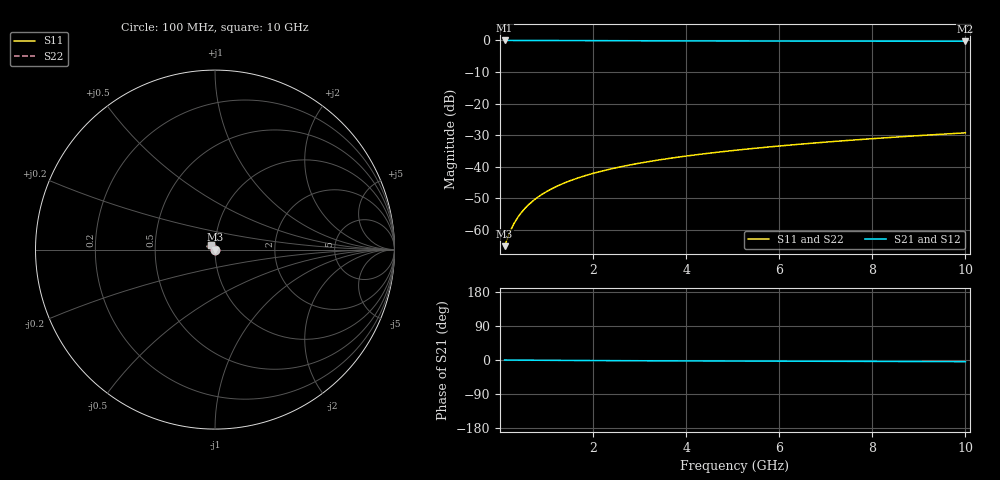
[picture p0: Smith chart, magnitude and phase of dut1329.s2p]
! Touchstone file exported from HFSS 2024.1.0
!  File:  C:/UserFiles/LocalFiles/RDL_TSV_Batchsim/temp_TSV1_1329_1780375084.aedt
!  Generated:  12:45:20 PM Jun  2, 2026
!  Design:  TSV1
!  Project:  temp_TSV1_1329_1780375084
!  Setup:  Setup1
!  Solution:  Sweep
! Variables:
!  dtsv = 5.49um
!  hbump = 3um
!  htsv = 58.86um
!  lrdl = 252.1521522um
!  p = 40
!  p1 = 56.11um
!  t = 500um
!  trdl = 3um
!  wrdl = 24.89489489um
# GHz S MA R 50.000000
! Terminal data exported
! Port[1] = TSV22_T1
! Port[2] = TSV22_T2
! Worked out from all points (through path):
!   100 points, 100 MHz to 10 GHz, reference 50 ohm
!   highest |S21| = 0.00 dB at 100 MHz (marker M1); lowest = -0.2 dB at 10 GHz (marker M2)
!   lowest |S11| = -65.2 dB at 100 MHz (marker M3), VSWR 1.00, Z = 50 - j0.0415 ohm
!   |S11| at or under -10 dB: start of sweep to end of sweep
!   |S22| runs from -65.2 to -29.3 dB; largest |S21 - S12| = 3.7e-15
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0.1  0.0005504 -48.9  0.9996 -0.1  0.9996 -0.1  0.0005504 -48.9
! Gamma 0 0 0 0
! Port Impedance 50 0 50 0
0.2  0.0008795 -70.4  0.9995 -0.2  0.9995 -0.2  0.0008795 -70.4
0.3  0.001253 -81.4  0.9994 -0.3  0.9994 -0.3  0.001253 -81.4
0.4  0.001643 -88.6  0.9993 -0.3  0.9993 -0.3  0.001643 -88.6
0.5  0.002039 -94.1  0.9991 -0.4  0.9991 -0.4  0.002039 -94.1
0.6  0.002437 -98.6  0.9988 -0.5  0.9988 -0.5  0.002437 -98.6
0.7  0.002836 -102.6  0.9986 -0.6  0.9986 -0.6  0.002836 -102.6
0.8  0.003234 -106.2  0.9983 -0.7  0.9983 -0.7  0.003234 -106.2
0.9  0.00363 -109.7  0.9979 -0.7  0.9979 -0.7  0.00363 -109.7
1  0.004025 -112.9  0.9976 -0.8  0.9976 -0.8  0.004025 -112.9
1.2  0.004807 -119.0  0.9968 -1.0  0.9968 -1.0  0.004807 -119.0
1.5  0.00596 -127.5  0.9955 -1.2  0.9955 -1.2  0.00596 -127.5
1.8  0.007088 -135.3  0.994 -1.3  0.994 -1.3  0.007088 -135.3
2.1  0.008191 -142.6  0.9926 -1.5  0.9926 -1.5  0.008191 -142.6
2.5  0.009624 -151.5  0.9905 -1.7  0.9905 -1.7  0.009624 -151.5
2.9  0.01102 -159.7  0.9886 -1.9  0.9886 -1.9  0.01102 -159.7
3.4  0.01273 -168.8  0.9863 -2.2  0.9863 -2.2  0.01273 -168.8
4.2  0.01539 178.7  0.9831 -2.5  0.9831 -2.5  0.01539 178.7
5.1  0.01833 167.2  0.9802 -2.8  0.9802 -2.8  0.01833 167.2
6.7  0.02353 151.9  0.9766 -3.3  0.9766 -3.3  0.02353 151.9
8.4  0.02908 140.3  0.974 -3.8  0.974 -3.8  0.02908 140.3
10  0.03437 132.2  0.9722 -4.4  0.9722 -4.4  0.03437 132.2
